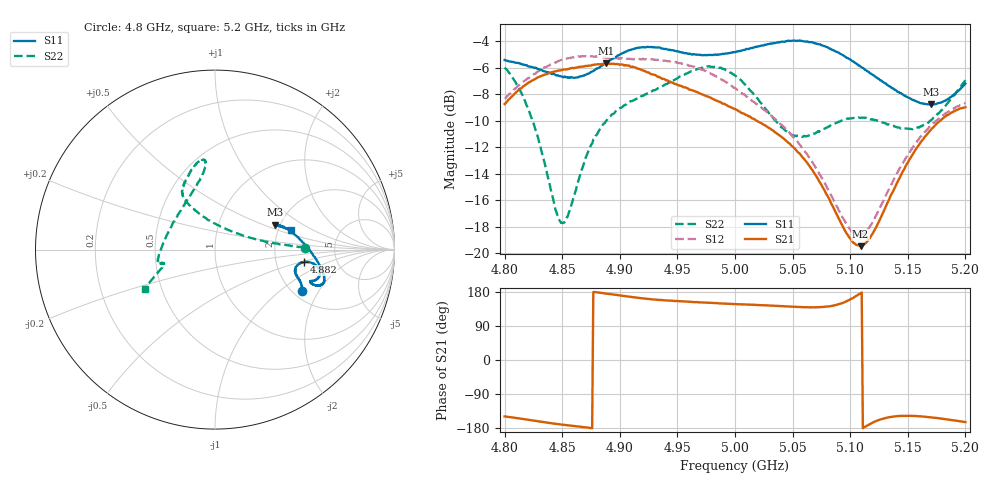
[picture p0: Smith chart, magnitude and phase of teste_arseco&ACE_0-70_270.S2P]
! Network Analyzer HP8722D
! Hewlett-Packard
! Data name: Linha & Wilkinson
! Saver's name: Rodrigo Anjos
! Comments: Teste da utilização de aquisição
! continua pelo VNA HP8722D
! Time and date: 8/5/2025 15:00
!  Frequency  S11  S21  S12  S22
# HZ  S  MA R 50
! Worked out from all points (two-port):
!   401 points, 4.8 GHz to 5.2 GHz, reference 50 ohm
!   highest |S21| = -5.68 dB at 4.888 GHz (marker M1); lowest = -19.4 dB at 5.109 GHz (marker M2)
!   |S21| within 3 dB of the highest: 4.801 GHz to 4.989 GHz (188 MHz wide, 3.84 % of centre)
!   lowest |S11| = -8.8 dB at 5.17 GHz (marker M3), VSWR 2.15, Z = 94.5 + j30.2 ohm
!   |S11| at or under -10 dB: nowhere
!   |S22| runs from -17.7 to -5.9 dB; largest |S21 - S12| = 1.1
!   S11 on the Smith chart (normalised r, x): 4.8 GHz: 2.25, -1.44; 4.882 GHz: 2.90, -0.53; 5.2 GHz: 2.33, +0.65
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4.8e9  0.5357 -25.2  0.3656 -149.0  0.3834 10.5  0.5016 1.2
4.813e9  0.5209 -22.2  0.4153 -154.3  0.4319 8.5  0.4153 3.3
4.823e9  0.5049 -20.4  0.4462 -158.9  0.4656 7.2  0.3273 6.3
4.848e9  0.466 -16.2  0.4888 -169.7  0.5338 3.1  0.1327 55.0
4.855e9  0.4588 -14.4  0.4956 -172.4  0.5443 2.1  0.1389 85.5
4.867e9  0.4655 -10.9  0.5055 -176.7  0.5527 0.3  0.2072 112.0
4.882e9  0.5014 -7.8  0.5163 177.8  0.5506 -1.0  0.2909 120.1
4.888e9  0.5207 -7.6  0.5199 175.3  0.547 -1.1  0.3158 120.7
4.911e9  0.5874 -10.5  0.506 166.0  0.539 -0.7  0.3759 119.1
4.934e9  0.597 -15.5  0.4629 158.3  0.5373 -1.4  0.421 112.6
4.975e9  0.5587 -18.5  0.3921 151.4  0.4867 -5.2  0.5046 99.1
5e9  0.5742 -19.3  0.3497 147.6  0.4208 -5.4  0.4687 96.6
5.015e9  0.5941 -19.6  0.3228 146.0  0.3746 -3.4  0.4044 101.7
5.044e9  0.6306 -17.5  0.267 141.6  0.2945 2.8  0.2897 131.1
5.067e9  0.6258 -13.3  0.2067 139.0  0.2215 9.3  0.2811 164.6
5.098e9  0.5446 -2.8  0.1172 156.7  0.1269 37.5  0.3228 -170.7
5.109e9  0.5061 2.4  0.1065 176.0  0.1175 59.4  0.3241 -167.1
5.119e9  0.473 7.4  0.1181 -165.9  0.13 78.4  0.3209 -166.1
5.134e9  0.4265 14.7  0.1606 -150.8  0.1759 94.9  0.305 -165.6
5.152e9  0.3841 20.9  0.2279 -147.4  0.2421 101.2  0.2948 -164.4
5.17e9  0.3644 22.4  0.2924 -151.3  0.3029 102.3  0.3175 -160.5
5.2e9  0.4364 14.9  0.3561 -163.8  0.3693 102.7  0.4497 -150.7
